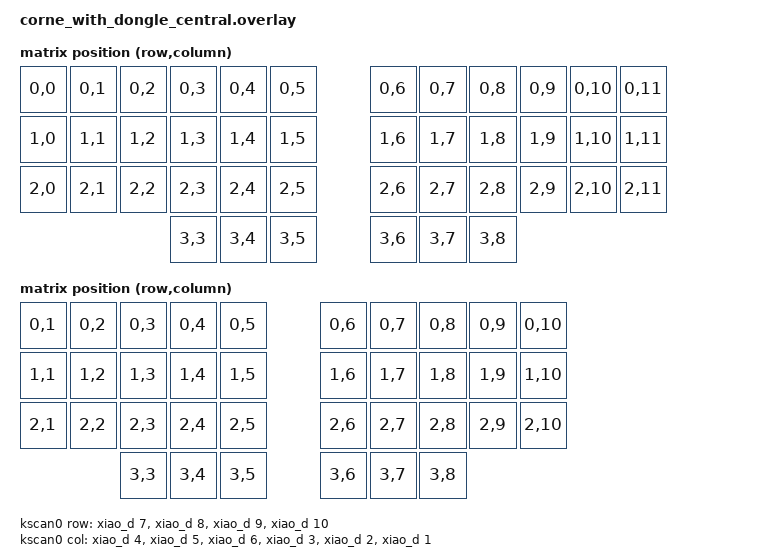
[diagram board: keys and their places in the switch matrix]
/*
 * Copyright (c) 2020 The ZMK Contributors
 *
 * SPDX-License-Identifier: MIT
 */

#include <dt-bindings/zmk/matrix_transform.h>

/ {

	chosen {
		zmk,kscan = &kscan0;
		zmk,matrix_transform = &default_transform;
		zmk,underglow = &led_strip;

	};

	default_transform: keymap_transform_0 {
		compatible = "zmk,matrix-transform";
		columns = <12>;
		rows = <4>;
// | SW1  | SW2  | SW3  | SW4  | SW5  | SW6  |   | SW6  | SW5  | SW4  | SW3  | SW2  | SW1  |
// | SW7  | SW8  | SW9  | SW10 | SW11 | SW12 |   | SW12 | SW11 | SW10 | SW9  | SW8  | SW7  |
// | SW13 | SW14 | SW15 | SW16 | SW17 | SW18 |   | SW18 | SW17 | SW16 | SW15 | SW14 | SW13 |
//                      | SW19 | SW20 | SW21 |   | SW21 | SW20 | SW19 |
		map = <
RC(0,0) RC(0,1) RC(0,2) RC(0,3) RC(0,4) RC(0,5)  RC(0,6) RC(0,7) RC(0,8) RC(0,9) RC(0,10) RC(0,11)
RC(1,0) RC(1,1) RC(1,2) RC(1,3) RC(1,4) RC(1,5)  RC(1,6) RC(1,7) RC(1,8) RC(1,9) RC(1,10) RC(1,11)
RC(2,0) RC(2,1) RC(2,2) RC(2,3) RC(2,4) RC(2,5)  RC(2,6) RC(2,7) RC(2,8) RC(2,9) RC(2,10) RC(2,11)
                        RC(3,3) RC(3,4) RC(3,5)  RC(3,6) RC(3,7) RC(3,8)
		>;
	};

	five_column_transform: keymap_transform_1 {
		compatible = "zmk,matrix-transform";
		columns = <10>;
		rows = <4>;
// | SW2  | SW3  | SW4  | SW5  | SW6  |   | SW6  | SW5  | SW4  | SW3  | SW2  |
// | SW8  | SW9  | SW10 | SW11 | SW12 |   | SW12 | SW11 | SW10 | SW9  | SW8  |
// | SW14 | SW15 | SW16 | SW17 | SW18 |   | SW18 | SW17 | SW16 | SW15 | SW14 |
//                      | SW19 | SW20 | SW21 |   | SW21 | SW20 | SW19 |
		map = <
RC(0,1) RC(0,2) RC(0,3) RC(0,4) RC(0,5)  RC(0,6) RC(0,7) RC(0,8) RC(0,9) RC(0,10)
RC(1,1) RC(1,2) RC(1,3) RC(1,4) RC(1,5)  RC(1,6) RC(1,7) RC(1,8) RC(1,9) RC(1,10)
RC(2,1) RC(2,2) RC(2,3) RC(2,4) RC(2,5)  RC(2,6) RC(2,7) RC(2,8) RC(2,9) RC(2,10)
                        RC(3,3) RC(3,4) RC(3,5)  RC(3,6) RC(3,7) RC(3,8)
		>;
	};

kscan0: kscan {
		compatible = "zmk,kscan-gpio-matrix";
		label = "KSCAN";

		diode-direction = "col2row";
		row-gpios
            = <&xiao_d 7 (GPIO_ACTIVE_HIGH | GPIO_PULL_DOWN)>
            , <&xiao_d 8 (GPIO_ACTIVE_HIGH | GPIO_PULL_DOWN)>
            , <&xiao_d 9 (GPIO_ACTIVE_HIGH | GPIO_PULL_DOWN)>
            , <&xiao_d 10 (GPIO_ACTIVE_HIGH | GPIO_PULL_DOWN)>
			;
	};
};

&xiao_spi { status = "disabled"; };
&xiao_i2c { status = "disabled"; };
&xiao_serial { status = "disabled"; };

&kscan0 {
	col-gpios
        = <&xiao_d 4 GPIO_ACTIVE_HIGH>
        , <&xiao_d 5 GPIO_ACTIVE_HIGH>
        , <&xiao_d 6 GPIO_ACTIVE_HIGH>
        , <&xiao_d 3 GPIO_ACTIVE_HIGH>
        , <&xiao_d 2 GPIO_ACTIVE_HIGH>
        , <&xiao_d 1 GPIO_ACTIVE_HIGH>
	;
};

#include <dt-bindings/led/led.h>

&spi3 {

  led_strip: ws2812@0 {
    compatible = "worldsemi,ws2812-spi";
    label = "WS2812";

    /* SPI */
    reg = <0>;
    spi-max-frequency = <5250000>;

    /* WS2812 */
    chain-length = <10>; /* number of LEDs */
    spi-one-frame = <0x70>; /* make sure to configure this properly for your SOC */
    spi-zero-frame = <0x40>; /* make sure to configure this properly for your SOC */
    color-mapping = <LED_COLOR_ID_GREEN
                          LED_COLOR_ID_RED
                          LED_COLOR_ID_BLUE>;
  };
};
